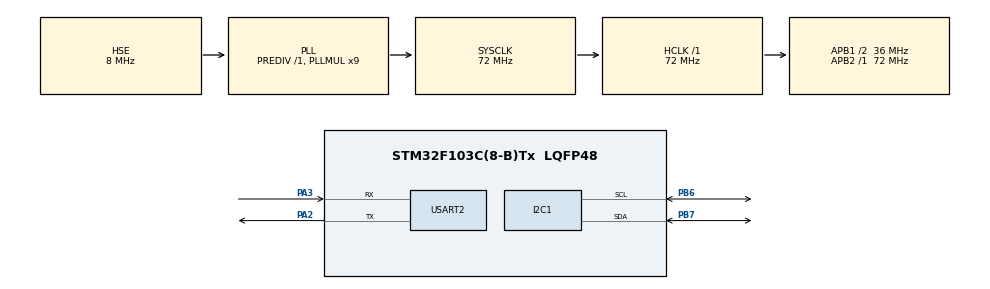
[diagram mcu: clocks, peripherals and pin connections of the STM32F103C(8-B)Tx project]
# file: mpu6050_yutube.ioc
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Mcu.Family=STM32F1
Mcu.Name=STM32F103C(8-B)Tx
Mcu.Package=LQFP48
NVIC.PriorityGroup=NVIC_PRIORITYGROUP_4
PA13.Mode=Serial_Wire
PA13.Signal=SYS_JTMS-SWDIO
PA14.Mode=Serial_Wire
PA14.Signal=SYS_JTCK-SWCLK
PA2.Mode=Asynchronous
PA2.Signal=USART2_TX
PA3.Mode=Asynchronous
PA3.Signal=USART2_RX
PB6.Mode=I2C
PB6.Signal=I2C1_SCL
PB7.Mode=I2C
PB7.Signal=I2C1_SDA
PD0-OSC_IN.Mode=HSE-External-Oscillator
PD0-OSC_IN.Signal=RCC_OSC_IN
PD1-OSC_OUT.Mode=HSE-External-Oscillator
PD1-OSC_OUT.Signal=RCC_OSC_OUT
ProjectManager.HeapSize=0x200
ProjectManager.StackSize=0x400
ProjectManager.TargetToolchain=STM32CubeIDE
RCC.AHBFreq_Value=72000000
RCC.APB1CLKDivider=RCC_HCLK_DIV2
RCC.APB1Freq_Value=36000000
RCC.APB1TimFreq_Value=72000000
RCC.APB2Freq_Value=72000000
RCC.APB2TimFreq_Value=72000000
RCC.HCLKFreq_Value=72000000
RCC.PLLMUL=RCC_PLL_MUL9
RCC.PLLSourceVirtual=RCC_PLLSOURCE_HSE
RCC.SYSCLKFreq_VALUE=72000000
RCC.SYSCLKSource=RCC_SYSCLKSOURCE_PLLCLK
RCC.USBFreq_Value=72000000
USART2.VirtualMode=VM_ASYNC
board=custom

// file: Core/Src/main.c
/* USER CODE BEGIN Header */
/**
  ******************************************************************************
  * @file           : main.c
  * @brief          : Main program body
  ******************************************************************************
  * @attention
  *
  * <h2><center>&copy; Copyright (c) 2021 STMicroelectronics.
  * All rights reserved.</center></h2>
  *
  * This software component is licensed by ST under BSD 3-Clause license,
  * the "License"; You may not use this file except in compliance with the
  * License. You may obtain a copy of the License at:
  *                        opensource.org/licenses/BSD-3-Clause
  *
  ******************************************************************************
  */
/* USER CODE END Header */
#include "main.h"

/* USER CODE BEGIN Includes */
#include "i2c.h"
#include "mpu6050.h"
#include "math.h"
#include "string.h"
#include "stdio.h"

/* USER CODE END Includes */

I2C_HandleTypeDef hi2c1;

UART_HandleTypeDef huart2;

/* USER CODE BEGIN PV */
MPU6050_t MPU6050;
char RX_buffer[100] = "";
float pi = 3.14159;
char floatArr[100] = "";

uint8_t Buffer[25] = {0};
uint8_t Space[] = " - ";
uint8_t StartMSG[] = "Starting I2C Scanning: \r\n";
uint8_t EndMSG[] = "Done! \r\n\r\n";
/* USER CODE END PV */

void SystemClock_Config(void);
static void MX_GPIO_Init(void);
static void MX_I2C1_Init(void);
static void MX_USART2_UART_Init(void);

int main(void)
{

  /* USER CODE BEGIN 1 */
	uint8_t i = 0, ret;

  /* USER CODE END 1 */

  /* MCU Configuration--------------------------------------------------------*/

  /* Reset of all peripherals, Initializes the Flash interface and the Systick. */
  HAL_Init();

  /* Configure the system clock */
  SystemClock_Config();

  /* Initialize all configured peripherals */
  MX_GPIO_Init();
  MX_I2C1_Init();
  MX_USART2_UART_Init();
  /* USER CODE BEGIN 2 */
  HAL_Delay(1000);
  MPU6050_Init(&hi2c1);
  HAL_Delay(100);

  /* USER CODE END 2 */

  /* Infinite loop */
  /* USER CODE BEGIN WHILE */
  while (1)
  {
	 MPU6050_Read_Accel(&hi2c1, &MPU6050);
	 MPU6050_Read_Gyro(&hi2c1, &MPU6050);
	 HAL_Delay(100);
	 sprintf(RX_buffer, "Gx = %0.3lf, Gy = %0.3lf, Ax = %0.3f, Ay = %0.3f \n\r ", MPU6050.Gx, MPU6050.Gy, MPU6050.Ax, MPU6050.Ay);
	//  sprintf(RX_buffer, "hello \r \n");
	 HAL_UART_Transmit(&huart2, RX_buffer, 100, 2000);
	 HAL_Delay(2000);

    /* USER CODE END WHILE */

  }
}

void SystemClock_Config(void)
{
  RCC_OscInitTypeDef RCC_OscInitStruct = {0};
  RCC_ClkInitTypeDef RCC_ClkInitStruct = {0};

  /** Initializes the RCC Oscillators according to the specified parameters
  * in the RCC_OscInitTypeDef structure.
  */
  RCC_OscInitStruct.OscillatorType = RCC_OSCILLATORTYPE_HSE;
  RCC_OscInitStruct.HSEState = RCC_HSE_ON;
  RCC_OscInitStruct.HSEPredivValue = RCC_HSE_PREDIV_DIV1;
  RCC_OscInitStruct.HSIState = RCC_HSI_ON;
  RCC_OscInitStruct.PLL.PLLState = RCC_PLL_ON;
  RCC_OscInitStruct.PLL.PLLSource = RCC_PLLSOURCE_HSE;
  RCC_OscInitStruct.PLL.PLLMUL = RCC_PLL_MUL9;
  if (HAL_RCC_OscConfig(&RCC_OscInitStruct) != HAL_OK)
  {
    Error_Handler();
  }

  /** Initializes the CPU, AHB and APB buses clocks
  */
  RCC_ClkInitStruct.ClockType = RCC_CLOCKTYPE_HCLK|RCC_CLOCKTYPE_SYSCLK
                              |RCC_CLOCKTYPE_PCLK1|RCC_CLOCKTYPE_PCLK2;
  RCC_ClkInitStruct.SYSCLKSource = RCC_SYSCLKSOURCE_PLLCLK;
  RCC_ClkInitStruct.AHBCLKDivider = RCC_SYSCLK_DIV1;
  RCC_ClkInitStruct.APB1CLKDivider = RCC_HCLK_DIV2;
  RCC_ClkInitStruct.APB2CLKDivider = RCC_HCLK_DIV1;

  if (HAL_RCC_ClockConfig(&RCC_ClkInitStruct, FLASH_LATENCY_2) != HAL_OK)
  {
    Error_Handler();
  }
}

static void MX_I2C1_Init(void)
{

  hi2c1.Instance = I2C1;
  hi2c1.Init.ClockSpeed = 100000;
  hi2c1.Init.DutyCycle = I2C_DUTYCYCLE_2;
  hi2c1.Init.OwnAddress1 = 0;
  hi2c1.Init.AddressingMode = I2C_ADDRESSINGMODE_7BIT;
  hi2c1.Init.DualAddressMode = I2C_DUALADDRESS_DISABLE;
  hi2c1.Init.OwnAddress2 = 0;
  hi2c1.Init.GeneralCallMode = I2C_GENERALCALL_DISABLE;
  hi2c1.Init.NoStretchMode = I2C_NOSTRETCH_DISABLE;
  if (HAL_I2C_Init(&hi2c1) != HAL_OK)
  {
    Error_Handler();
  }

}

static void MX_USART2_UART_Init(void)
{

  huart2.Instance = USART2;
  huart2.Init.BaudRate = 115200;
  huart2.Init.WordLength = UART_WORDLENGTH_8B;
  huart2.Init.StopBits = UART_STOPBITS_1;
  huart2.Init.Parity = UART_PARITY_NONE;
  huart2.Init.Mode = UART_MODE_TX_RX;
  huart2.Init.HwFlowCtl = UART_HWCONTROL_NONE;
  huart2.Init.OverSampling = UART_OVERSAMPLING_16;
  if (HAL_UART_Init(&huart2) != HAL_OK)
  {
    Error_Handler();
  }

}

static void MX_GPIO_Init(void)
{

  /* GPIO Ports Clock Enable */
  __HAL_RCC_GPIOD_CLK_ENABLE();
  __HAL_RCC_GPIOA_CLK_ENABLE();
  __HAL_RCC_GPIOB_CLK_ENABLE();

}

void Error_Handler(void)
{
  __disable_irq();
  while (1)
  {
  }
}
